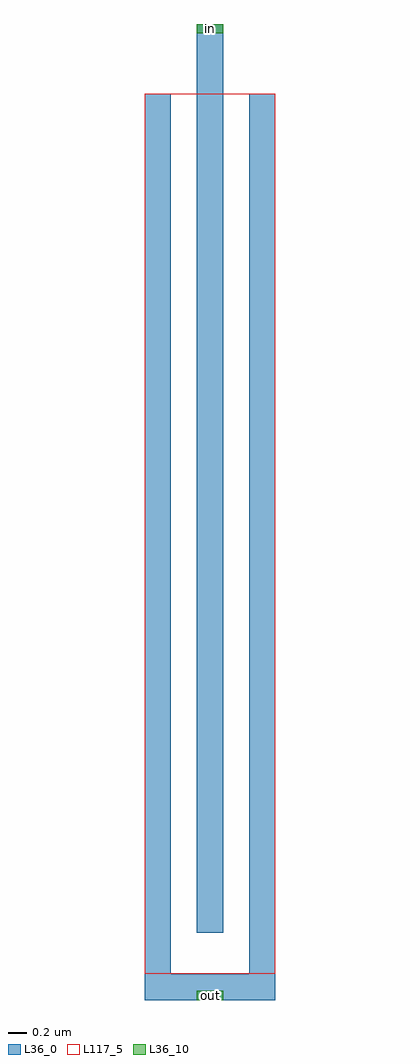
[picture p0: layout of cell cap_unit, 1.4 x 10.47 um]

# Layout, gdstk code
import gdstk
lib = gdstk.Library(unit=1e-6, precision=1e-09)
def R(c, l, rs):  # rectangles x0, y0, x1, y1
    for r in rs: c.add(gdstk.rectangle(r[:2], r[2:], *l))
L36_0 = (36, 0)
L36_10 = (36, 10)
L117_5 = (117, 5)

cap_unit = lib.new_cell('cap_unit')
R(cap_unit, L36_0, [(1.98,-0.721,3.38,-0.441), (1.98,-0.441,2.26,8.999), (1.98,-0.441,2.26,8.999), (3.1,-0.441,3.38,8.999), (3.1,-0.441,3.38,8.999), (2.54,-0.001,2.82,9.749)])
R(cap_unit, L36_10, [(2.54,-0.721,2.82,-0.621), (2.54,9.649,2.82,9.749)])
R(cap_unit, L117_5, [(1.98,-0.441,3.38,8.999)])
cap_unit.add(gdstk.Label('out', (2.68,-0.671), layer=36, texttype=10))
cap_unit.add(gdstk.Label('in', (2.68,9.699), layer=36, texttype=10))

lib.write_gds('cap_unit.gds')
